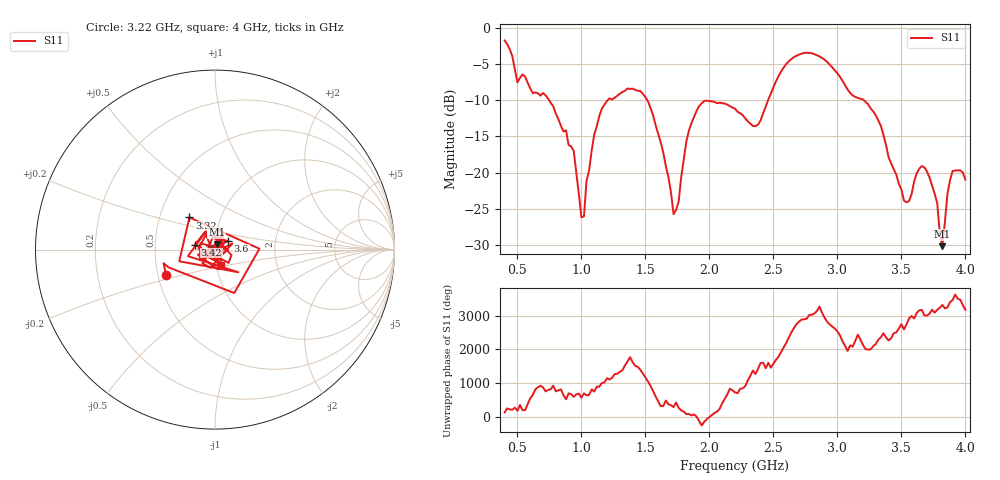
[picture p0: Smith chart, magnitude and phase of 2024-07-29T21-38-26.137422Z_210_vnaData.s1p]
!Created with skrf (http://scikit-rf.org).
# Hz S RI R 50.0
!freq ReS11 ImS11
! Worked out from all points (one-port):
!   181 points, 400 MHz to 4 GHz, reference 50 ohm
!   lowest |S11| = -30.2 dB at 3.82 GHz (marker M1), VSWR 1.06, Z = 50.9 + j3.01 ohm
!   |S11| at or under -10 dB: 747.2 MHz to 1.206 GHz (458.6 MHz wide, 47 % of centre); 1.515 GHz to 2.458 GHz (943.7 MHz wide, 47.5 % of centre); 3.206 GHz to end of sweep
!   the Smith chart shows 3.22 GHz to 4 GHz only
!   S11 on the Smith chart (normalised r, x): 3.22 GHz: 0.55, -0.18; 3.32 GHz: 0.71, +0.27; 3.42 GHz: 0.80, +0.04; 3.6 GHz: 1.15, +0.11; 4 GHz: 1.05, -0.18
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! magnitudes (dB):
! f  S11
! 400 MHz  -1.7
! 500 MHz  -7.5
! 860 MHz  -14.3
! 940 MHz  -17.0
! 1 GHz  -26.2
! 1.02 GHz  -26.1
! 1.04 GHz  -21.2
! 1.14 GHz  -12.2
! 1.3 GHz  -9.1
! 1.52 GHz  -10.1
! 1.72 GHz  -25.7
! 1.76 GHz  -24.0
! 1.82 GHz  -15.7
! 1.92 GHz  -10.8
! 2.2 GHz  -11.2
! 2.38 GHz  -13.4
! 2.66 GHz  -4.1
! 3.1 GHz  -9.0
! 3.22 GHz  -10.2
! 3.32 GHz  -12.8
! 3.42 GHz  -18.7
! 3.56 GHz  -23.9
! 3.6 GHz  -21.2
! 3.7 GHz  -19.9
! 3.78 GHz  -24.2
! 3.82 GHz  -30.2
! 3.9 GHz  -19.8
! 4 GHz  -21.0
